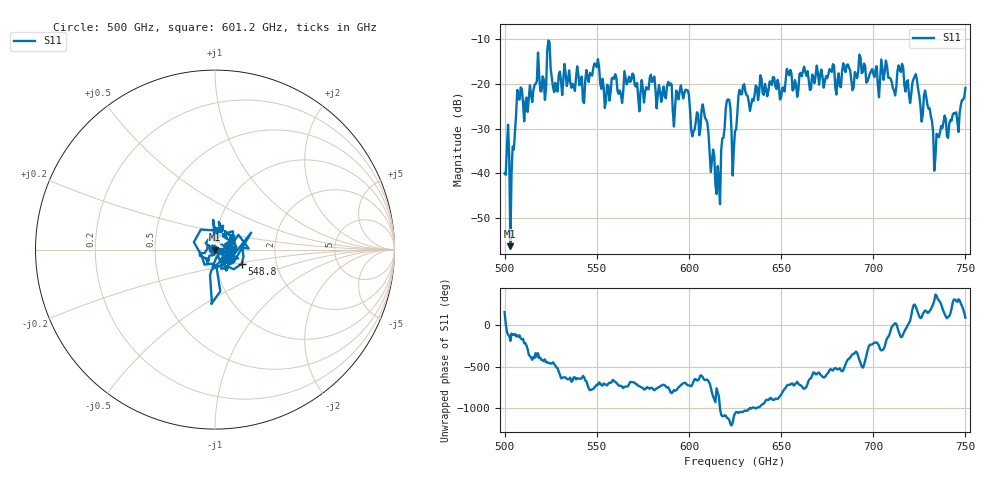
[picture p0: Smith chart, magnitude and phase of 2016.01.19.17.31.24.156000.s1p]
!Created with skrf (http://scikit-rf.org).
# GHz S RI R 50.0
!freq ReS11 ImS11
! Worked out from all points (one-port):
!   401 points, 500 GHz to 750 GHz, reference 50 ohm
!   lowest |S11| = -56.2 dB at 503.1 GHz (marker M1), VSWR 1.00, Z = 49.8 + j0.0172 ohm
!   |S11| at or under -10 dB: start of sweep to end of sweep
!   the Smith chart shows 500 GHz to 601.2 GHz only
!   S11 on the Smith chart (normalised r, x): 500 GHz: 0.98, +0.01; 548.8 GHz: 1.33, -0.22; 601.2 GHz: 1.06, -0.02
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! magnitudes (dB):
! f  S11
! 500 GHz  -40.0
! 503.1 GHz  -56.2
! 504.4 GHz  -34.0
! 505.6 GHz  -30.7
! 508.1 GHz  -23.5
! 521.2 GHz  -19.0
! 524.4 GHz  -10.8
! 527.5 GHz  -19.8
! 531.2 GHz  -22.5
! 548.8 GHz  -15.5
! 562.5 GHz  -21.5
! 580 GHz  -19.6
! 593.8 GHz  -22.2
! 598.8 GHz  -21.4
! 601.2 GHz  -30.3
! 608.8 GHz  -27.6
! 615.6 GHz  -38.4
! 621.2 GHz  -23.5
! 625 GHz  -30.6
! 628.8 GHz  -22.3
! 656.2 GHz  -21.5
! 687.5 GHz  -17.1
! 711.2 GHz  -21.5
! 715 GHz  -17.4
! 718.8 GHz  -19.2
! 728.8 GHz  -22.9
! 734.4 GHz  -31.2
! 750 GHz  -21.0
